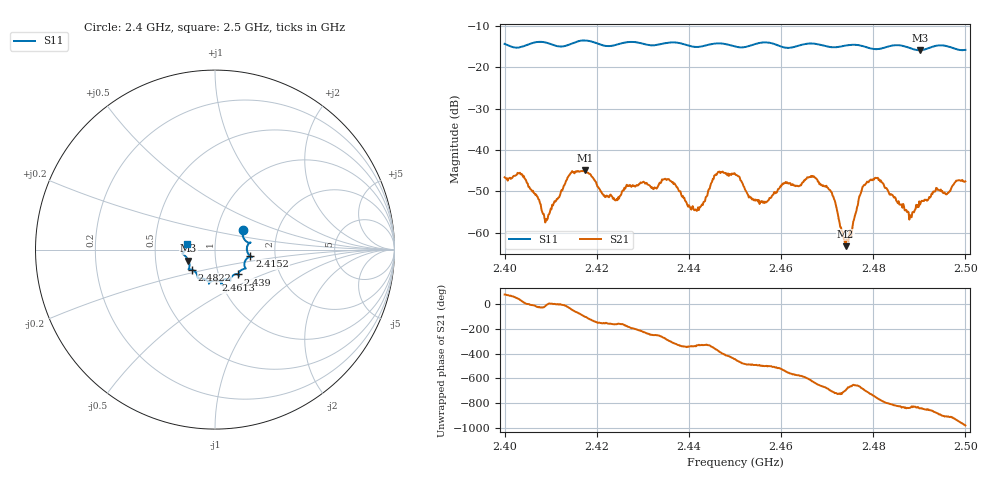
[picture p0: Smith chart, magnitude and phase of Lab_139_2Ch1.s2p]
# Hz S RI R
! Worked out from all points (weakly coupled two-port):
!   601 points, 2.4 GHz to 2.5 GHz, reference 50 ohm
!   highest |S21| = -44.94 dB at 2.4175 GHz (marker M1); lowest = -63.2 dB at 2.474 GHz (marker M2)
!   lowest |S11| = -15.9 dB at 2.4902 GHz (marker M3), VSWR 1.38, Z = 36.9 - j4.61 ohm
!   |S11| at or under -10 dB: start of sweep to end of sweep
!   S12 and S22 are empty: the file has one direction only
!   S11 on the Smith chart (normalised r, x): 2.4 GHz: 1.33, +0.31; 2.4152 GHz: 1.48, -0.11; 2.439 GHz: 1.24, -0.35; 2.4613 GHz: 0.96, -0.34; 2.4822 GHz: 0.76, -0.17; 2.5 GHz: 0.73, +0.05
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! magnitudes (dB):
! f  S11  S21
! 2.4 GHz  -14.4  -46.6
! 2.4038 GHz  -15.1  -45.9
! 2.4092 GHz  -14.1  -56.9
! 2.4152 GHz  -14.1  -45.6
! 2.4167 GHz  -13.6  -45.1
! 2.4175 GHz  -13.6  -44.9
! 2.424 GHz  -14.7  -52.2
! 2.4333 GHz  -14.6  -48.6
! 2.439 GHz  -14.5  -51.5
! 2.4417 GHz  -15.1  -54.7
! 2.446 GHz  -14.3  -46.0
! 2.45 GHz  -15.0  -45.7
! 2.4558 GHz  -14.1  -52.3
! 2.4613 GHz  -15.3  -47.8
! 2.4667 GHz  -14.3  -46.5
! 2.471 GHz  -15.2  -50.2
! 2.474 GHz  -14.8  -63.2
! 2.4782 GHz  -15.1  -48.5
! 2.4822 GHz  -15.4  -48.1
! 2.4833 GHz  -15.0  -50.1
! 2.4902 GHz  -15.9  -53.2
! 2.5 GHz  -15.8  -47.6
